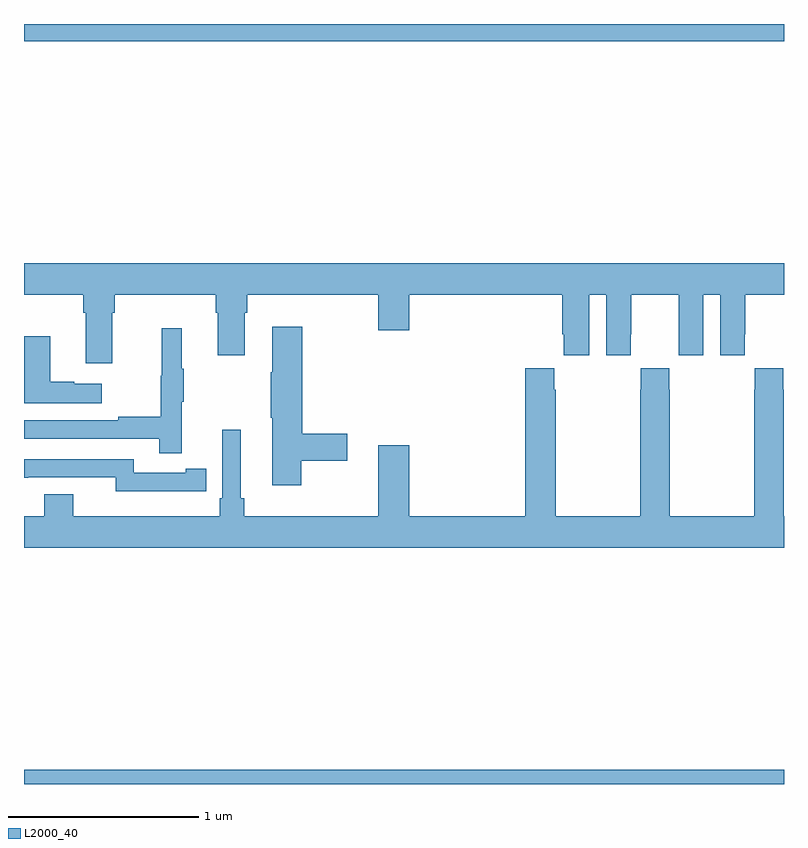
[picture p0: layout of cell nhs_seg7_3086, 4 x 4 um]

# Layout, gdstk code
import gdstk
lib = gdstk.Library(unit=1e-6, precision=1e-09)
def R(c, l, rs):  # rectangles x0, y0, x1, y1
    for r in rs: c.add(gdstk.rectangle(r[:2], r[2:], *l))
def P(c, l, *ps):  # polygons
    for p in ps: c.add(gdstk.Polygon(p, *l))
L2000_40 = (2000, 40)

nhs_seg7_3086 = lib.new_cell('nhs_seg7_3086')
R(nhs_seg7_3086, L2000_40, [(307,1038,311,1038.076), (307,1041.908,311,1042)])
P(nhs_seg7_3086, L2000_40, [(307.465,1040.48),(307.478,1040.48),(307.478,1040.576),(308.009,1040.576),(308.009,1040.48),(308.021,1040.48),(308.021,1040.256),(308.161,1040.256),(308.161,1040.48),(308.174,1040.48),(308.174,1040.576),(308.864,1040.576),(308.864,1040.388),(309.028,1040.388),(309.028,1040.576),(309.833,1040.576),(309.833,1040.368),(309.842,1040.368),(309.842,1040.256),(309.976,1040.256),(309.976,1040.576),(310.064,1040.576),(310.064,1040.256),(310.194,1040.256),(310.194,1040.368),(310.195,1040.368),(310.195,1040.576),(310.445,1040.576),(310.445,1040.368),(310.446,1040.368),(310.446,1040.256),(310.576,1040.256),(310.576,1040.576),(310.664,1040.576),(310.664,1040.256),(310.794,1040.256),(310.794,1040.368),(310.795,1040.368),(310.795,1040.576),(311,1040.576),(311,1040.74),(307,1040.74),(307,1040.576),(307.313,1040.576),(307.313,1040.48),(307.325,1040.48),(307.325,1040.214),(307.465,1040.214)],
  [(308.46,1039.702),(308.701,1039.702),(308.701,1039.844),(308.465,1039.844),(308.465,1040.407),(308.306,1040.407),(308.306,1040.168),(308.299,1040.168),(308.299,1039.927),(308.306,1039.927),(308.306,1039.572),(308.46,1039.572)],
  [(307.829,1040.011),(307.84,1040.011),(307.84,1040.185),(307.829,1040.185),(307.829,1040.398),(307.726,1040.398),(307.726,1040.148),(307.719,1040.148),(307.719,1039.934),(307.495,1039.934),(307.495,1039.914),(307,1039.914),(307,1039.818),(307.711,1039.818),(307.711,1039.74),(307.829,1039.74)],
  [(307.408,1040.107),(307.265,1040.107),(307.265,1040.117),(307.138,1040.117),(307.138,1040.356),(307,1040.356),(307,1040.003),(307.408,1040.003)],
  [(311,1039.408),(310.998,1039.408),(310.998,1040.075),(310.995,1040.075),(310.995,1040.188),(310.845,1040.188),(310.845,1040.075),(310.843,1040.075),(310.843,1039.408),(310.398,1039.408),(310.398,1040.075),(310.395,1040.075),(310.395,1040.188),(310.245,1040.188),(310.245,1040.075),(310.243,1040.075),(310.243,1039.408),(309.798,1039.408),(309.798,1040.075),(309.791,1040.075),(309.791,1040.188),(309.638,1040.188),(309.638,1039.408),(309.028,1039.408),(309.028,1039.783),(308.864,1039.783),(308.864,1039.408),(308.159,1039.408),(308.159,1039.504),(308.14,1039.504),(308.14,1039.864),(308.043,1039.864),(308.043,1039.504),(308.03,1039.504),(308.03,1039.408),(307.258,1039.408),(307.258,1039.525),(307.106,1039.525),(307.106,1039.408),(307,1039.408),(307,1039.244),(311,1039.244)],
  [(307.85,1039.542),(307.958,1039.542),(307.958,1039.658),(307.85,1039.658),(307.85,1039.638),(307.578,1039.638),(307.578,1039.71),(307,1039.71),(307,1039.613),(307.022,1039.613),(307.022,1039.614),(307.482,1039.614),(307.482,1039.541),(307.85,1039.541)])

lib.write_gds('nhs_seg7_3086.gds')
